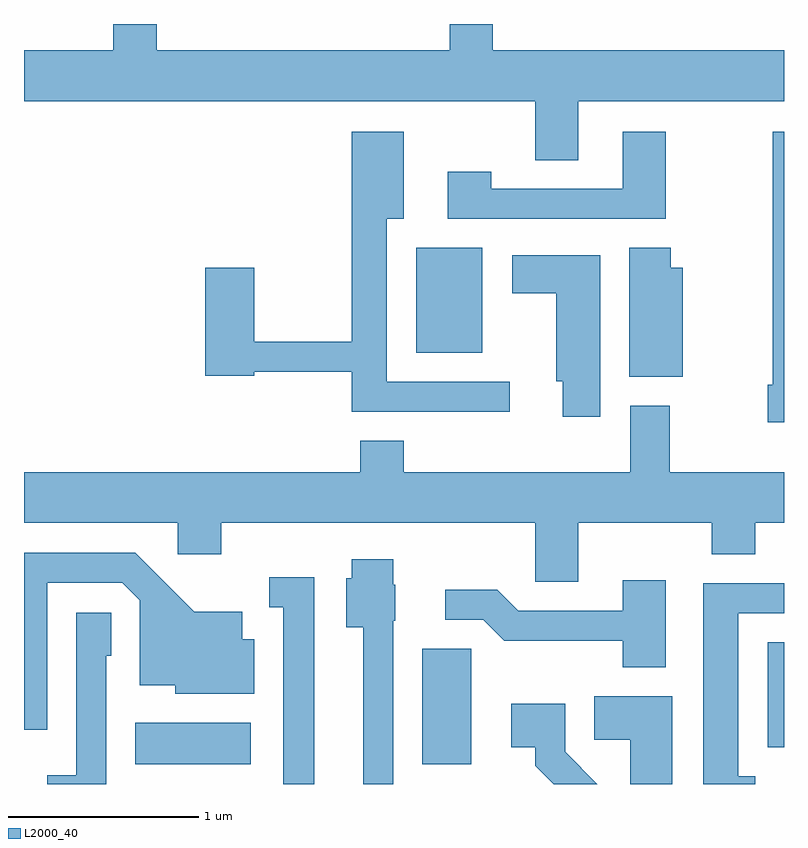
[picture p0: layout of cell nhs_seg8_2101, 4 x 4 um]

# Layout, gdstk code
import gdstk
lib = gdstk.Library(unit=1e-6, precision=1e-09)
def R(c, l, rs):  # rectangles x0, y0, x1, y1
    for r in rs: c.add(gdstk.rectangle(r[:2], r[2:], *l))
def P(c, l, *ps):  # polygons
    for p in ps: c.add(gdstk.Polygon(p, *l))
L2000_40 = (2000, 40)

nhs_seg8_2101 = lib.new_cell('nhs_seg8_2101')
R(nhs_seg8_2101, L2000_40, [(248.196,1868.446,248.804,1868.664), (249.706,1868.446,249.964,1869.054), (251.526,1868.536,251.611,1869.089), (249.676,1870.611,250.024,1871.164)])
P(nhs_seg8_2101, L2000_40, [(250.529,1871.936),(251.611,1871.936),(251.611,1872.204),(250.079,1872.204),(250.079,1872.342),(249.851,1872.342),(249.851,1872.204),(248.309,1872.204),(248.309,1872.342),(248.081,1872.342),(248.081,1872.204),(247.611,1872.204),(247.611,1871.936),(250.301,1871.936),(250.301,1871.626),(250.529,1871.626)],
  [(250.989,1871.774),(250.761,1871.774),(250.761,1871.474),(250.069,1871.474),(250.069,1871.564),(249.841,1871.564),(249.841,1871.316),(250.989,1871.316)],
  [(251.611,1871.774),(251.551,1871.774),(251.551,1870.444),(251.526,1870.444),(251.526,1870.246),(251.611,1870.246)],
  [(250.168,1870.459),(249.519,1870.459),(249.519,1871.316),(249.609,1871.316),(249.609,1871.774),(249.336,1871.774),(249.336,1870.669),(248.824,1870.669),(248.824,1871.059),(248.566,1871.059),(248.566,1870.491),(248.824,1870.491),(248.824,1870.511),(249.336,1870.511),(249.336,1870.301),(250.168,1870.301)],
  [(251.079,1871.059),(251.014,1871.059),(251.014,1871.164),(250.796,1871.164),(250.796,1870.486),(251.079,1870.486)],
  [(250.644,1871.124),(250.181,1871.124),(250.181,1870.926),(250.411,1870.926),(250.411,1870.461),(250.446,1870.461),(250.446,1870.276),(250.644,1870.276)],
  [(250.529,1869.716),(251.231,1869.716),(251.231,1869.551),(251.459,1869.551),(251.459,1869.716),(251.611,1869.716),(251.611,1869.984),(251.009,1869.984),(251.009,1870.334),(250.801,1870.334),(250.801,1869.984),(249.609,1869.984),(249.609,1870.149),(249.381,1870.149),(249.381,1869.984),(247.611,1869.984),(247.611,1869.716),(248.421,1869.716),(248.421,1869.551),(248.649,1869.551),(248.649,1869.716),(250.301,1869.716),(250.301,1869.406),(250.529,1869.406)],
  [(247.734,1869.401),(248.129,1869.401),(248.221,1869.309),(248.221,1868.861),(248.406,1868.861),(248.406,1868.816),(248.824,1868.816),(248.824,1869.104),(248.759,1869.104),(248.759,1869.249),(248.507,1869.249),(248.197,1869.559),(247.611,1869.559),(247.611,1868.628),(247.734,1868.628)],
  [(249.554,1869.2),(249.564,1869.2),(249.564,1869.39),(249.554,1869.39),(249.554,1869.524),(249.336,1869.524),(249.336,1869.424),(249.306,1869.424),(249.306,1869.166),(249.396,1869.166),(249.396,1868.342),(249.554,1868.342)],
  [(249.139,1869.429),(248.903,1869.429),(248.903,1869.271),(248.976,1869.271),(248.976,1868.342),(249.139,1868.342)],
  [(250.989,1869.414),(250.761,1869.414),(250.761,1869.254),(250.212,1869.254),(250.102,1869.364),(249.828,1869.364),(249.828,1869.206),(250.029,1869.206),(250.139,1869.096),(250.761,1869.096),(250.761,1868.956),(250.989,1868.956)],
  [(251.459,1868.384),(251.369,1868.384),(251.369,1869.241),(251.611,1869.241),(251.611,1869.399),(251.186,1869.399),(251.186,1868.342),(251.459,1868.342)],
  [(248.044,1869.016),(248.069,1869.016),(248.069,1869.244),(247.886,1869.244),(247.886,1868.389),(247.733,1868.389),(247.733,1868.342),(248.044,1868.342)],
  [(251.024,1868.804),(250.611,1868.804),(250.611,1868.576),(250.801,1868.576),(250.801,1868.342),(251.024,1868.342)],
  [(250.459,1868.512),(250.459,1868.764),(250.176,1868.764),(250.176,1868.536),(250.301,1868.536),(250.301,1868.439),(250.398,1868.342),(250.629,1868.342)])

lib.write_gds('nhs_seg8_2101.gds')
